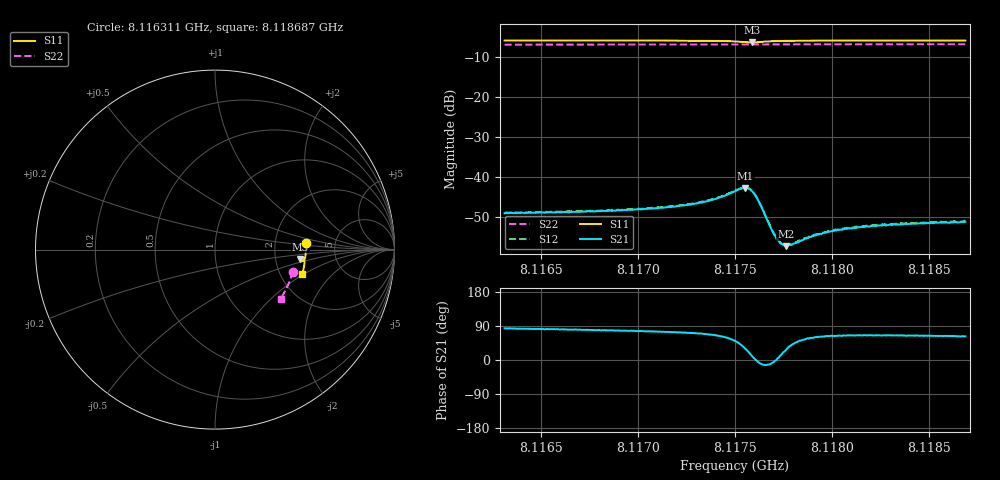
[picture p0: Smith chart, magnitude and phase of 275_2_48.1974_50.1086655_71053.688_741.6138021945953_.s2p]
#  HZ  S  RI  R  50.00
! Rohde & Schwarz Vector Network Analyzer
! Rohde-Schwarz,ZNB20-2Port,1311601062101988,3.16
! Created: UTC 3/20/2024, 11:48:20 AM
! freq[Hz]  re:S11  im:S11  re:S21  im:S21  re:S12  im:S12  re:S22  im:S22
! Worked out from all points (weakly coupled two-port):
!   401 points, 8.116311 GHz to 8.118687 GHz, reference 50 ohm
!   highest |S21| = -42.69 dB at 8.117553 GHz (marker M1); lowest = -57.2 dB at 8.117761 GHz (marker M2)
!   lowest |S11| = -6.4 dB at 8.117588 GHz (marker M3), VSWR 2.83, Z = 139 - j18.9 ohm
!   |S11| at or under -10 dB: nowhere
!   |S22| runs from -7.0 to -6.8 dB; largest |S21 - S12| = 0.00019
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8.116311e9  0.5057 0.035  0.000397 0.00353  0.000455 0.00358  0.4322 -0.1227
8.116709e9  0.5064 0.00482  0.000673 0.00365  0.00074 0.00371  0.4247 -0.1495
8.1171071e9  0.5047 -0.0263  0.00109 0.00402  0.00115 0.00402  0.4157 -0.1757
8.1172378e9  0.5032 -0.0374  0.00135 0.00423  0.00142 0.00427  0.4125 -0.1841
8.1173448e9  0.501 -0.0472  0.0018 0.0046  0.00191 0.00469  0.4096 -0.1914
8.117416e9  0.4979 -0.0546  0.00247 0.00497  0.00251 0.00504  0.4075 -0.1957
8.1174992e9  0.4894 -0.0629  0.00427 0.00515  0.00441 0.00519  0.4048 -0.2014
8.1175527e9  0.4784 -0.0614  0.00637 0.00365  0.00652 0.00365  0.4028 -0.2042
8.1175705e9  0.4758 -0.0576  0.0067 0.00246  0.00687 0.00246  0.4023 -0.2051
8.1175883e9  0.4754 -0.0526  0.00655 0.00113  0.00669 0.00106  0.4018 -0.206
8.1176062e9  0.4779 -0.0484  0.00581 9.02e-06  0.00593 -4.04e-05  0.4015 -0.2068
8.117624e9  0.4819 -0.0461  0.00482 -0.00063  0.00486 -0.000677  0.4012 -0.2079
8.1176834e9  0.4931 -0.0496  0.00229 -0.000409  0.00236 -0.000453  0.4 -0.2116
8.1177072e9  0.4954 -0.0527  0.00184 -4.37e-05  0.00187 -3.79e-05  0.3993 -0.2132
8.1177369e9  0.497 -0.0564  0.00143 0.000346  0.00146 0.00032  0.3985 -0.2153
8.1177606e9  0.4979 -0.0592  0.00124 0.000599  0.00128 0.000633  0.3978 -0.2168
8.1177963e9  0.4987 -0.0632  0.00109 0.000968  0.00111 0.000988  0.3968 -0.219
8.1178973e9  0.4987 -0.0733  0.000985 0.00159  0.000957 0.00158  0.3936 -0.2256
8.1179745e9  0.4981 -0.0802  0.000924 0.00185  0.000992 0.00184  0.3909 -0.2305
8.1180636e9  0.4969 -0.0876  0.000979 0.00204  0.000988 0.00209  0.3881 -0.2359
8.1182953e9  0.4935 -0.1057  0.00109 0.00232  0.00109 0.00233  0.3801 -0.2501
8.1186875e9  0.4863 -0.1347  0.00128 0.00246  0.00128 0.00247  0.365 -0.2732
